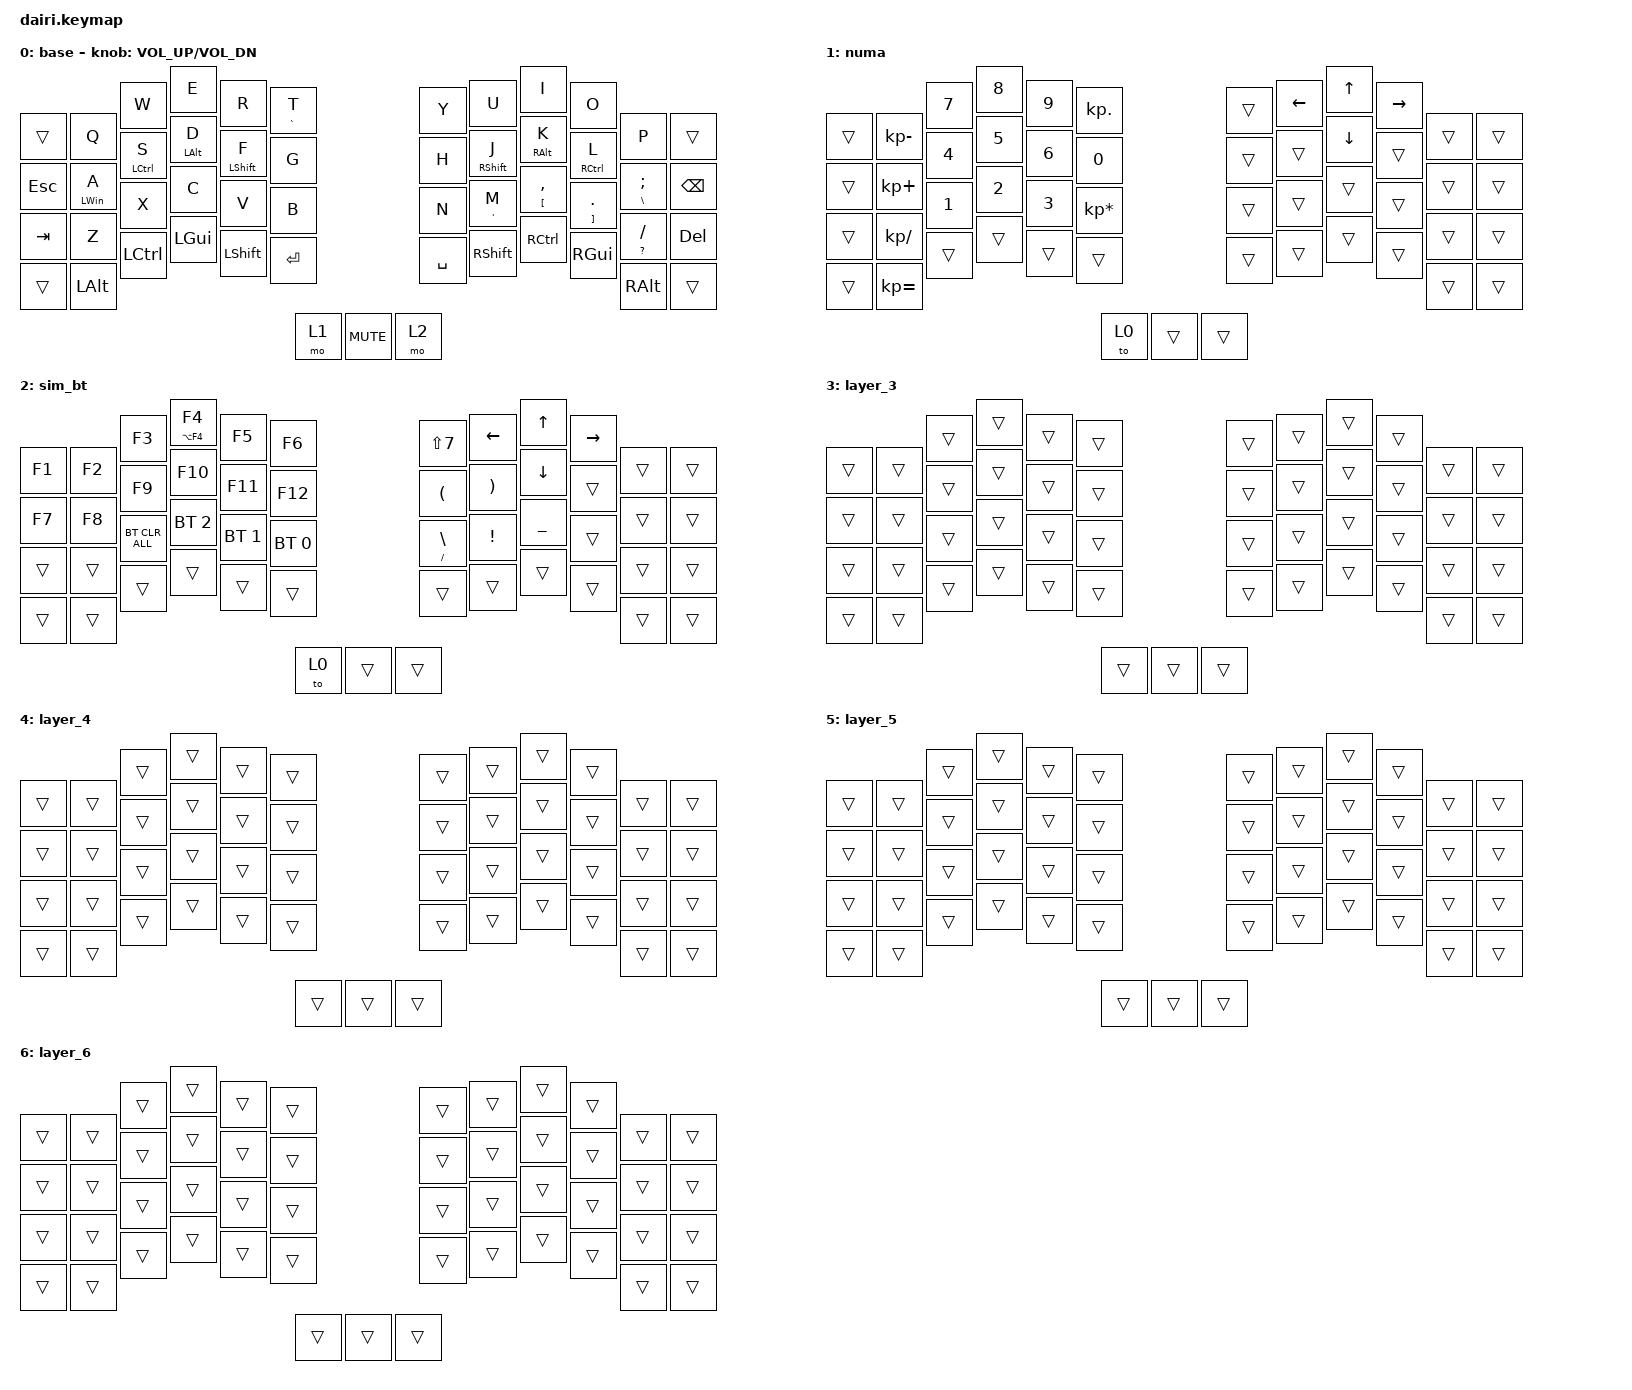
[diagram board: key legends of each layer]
#include <behaviors.dtsi>
#include <dt-bindings/zmk/bt.h>
#include <dt-bindings/zmk/keys.h>

#define DEFAULT 0
#define NUMPAD 1
#define BLT 2

&mt { tapping-term-ms = <250>; };

/ {
    combos {
        compatible = "zmk,combos";

        copy {
            timeout-ms = <45>;
            require-prior-idle-ms = <130>;
            slow-release;
            layers = <1 2>;
            bindings = <&kp LC(C)>;
            key-positions = <27 38>;
        };

        cut {
            timeout-ms = <45>;
            require-prior-idle-ms = <130>;
            slow-release;
            layers = <1 2>;
            bindings = <&kp LC(X)>;
            key-positions = <26 38>;
        };

        paste {
            timeout-ms = <45>;
            require-prior-idle-ms = <130>;
            slow-release;
            layers = <1 2>;
            bindings = <&kp LC(V)>;
            key-positions = <28 38>;
        };

        backspace {
            timeout-ms = <60>;
            require-prior-idle-ms = <180>;
            layers = <1 2>;
            bindings = <&kp BACKSPACE>;
            key-positions = <4 3>;
        };

        print {
            timeout-ms = <50>;
            require-prior-idle-ms = <160>;
            layers = <0 1 2>;
            bindings = <&kp LC(P)>;
            key-positions = <1 2>;
        };

        insert {
            timeout-ms = <50>;
            require-prior-idle-ms = <160>;
            layers = <0 1 2>;
            bindings = <&kp INSERT>;
            key-positions = <1 3>;
        };

        qstn {
            bindings = <&kp LS(N7)>;
            key-positions = <6 7>;
        };

        rght_skbk {
            bindings = <&kp RIGHT_PARENTHESIS>;
            key-positions = <4 3>;
            layers = <0>;
        };

        lft_skbk {
            bindings = <&kp LEFT_PARENTHESIS>;
            key-positions = <2 3>;
            layers = <0>;
        };

        calculator {
            bindings = <&kp C_AL_CALCULATOR>;
            key-positions = <5 41>;
            layers = <0 1>;
        };

        caps {
            bindings = <&kp CAPS>;
            key-positions = <37 40>;
            layers = <0 1>;
        };

        to_numa {
            bindings = <&to 1>;
            key-positions = <0 36>;
        };

        to_simb {
            bindings = <&to 2>;
            key-positions = <48 50>;
        };

        space {
            bindings = <&kp SPACE>;
            key-positions = <16 15>;
            layers = <1>;
        };
    };

    behaviors {
        hrm: hrm {
            compatible = "zmk,behavior-hold-tap";
            label = "HRM";
            #binding-cells = <2>;
            tapping-term-ms = <200>;
            quick-tap-ms = <175>;
            flavor = "balanced";
            require-prior-idle-ms = <150>;
            hold-trigger-on-release;
            bindings = <&kp>, <&kp>;
        };

        modtap: modtap {
            compatible = "zmk,behavior-hold-tap";
            label = "MODTAP";
            #binding-cells = <2>;
            tapping-term-ms = <250>;
            bindings = <&mo>, <&kp>;
        };
    };

    keymap {
        compatible = "zmk,keymap";

        base_layer {
            bindings = <
&trans      &kp Q            &kp W         &kp E            &kp R              &hrm GRAVE T    &kp Y      &kp U               &kp I                    &kp O                      &kp P                &trans
&kp ESCAPE  &hrm LEFT_WIN A  &hrm LCTRL S  &hrm LEFT_ALT D  &hrm LEFT_SHIFT F  &kp G           &kp H      &hrm RIGHT_SHIFT J  &hrm RIGHT_ALT K         &hrm RCTRL L               &hrm BACKSLASH SEMI  &kp BACKSPACE
&kp TAB     &kp Z            &kp X         &kp C            &kp V              &kp B           &kp N      &hrm SQT M          &hrm LEFT_BRACKET COMMA  &hrm RIGHT_BRACKET PERIOD  &hrm QUESTION SLASH  &kp DEL
&trans      &kp LEFT_ALT     &kp LCTRL                      &kp LEFT_GUI       &kp LEFT_SHIFT  &kp ENTER  &kp SPACE           &kp RIGHT_SHIFT          &kp RCTRL                  &kp RIGHT_GUI        &kp RIGHT_ALT  &trans
&mo 1       &kp C_MUTE       &mo 2
            >;

            sensor-bindings = <&inc_dec_kp C_VOL_UP C_VOL_DN>;
            label = "base";
        };

        numa {
            bindings = <
&trans  &kp KP_SUBTRACT  &kp N7  &kp N8  &kp NUMBER_9  &kp KP_DOT       &trans  &kp LEFT_ARROW  &kp UP_ARROW    &kp RIGHT_ARROW  &trans  &trans
&trans  &kp KP_PLUS      &kp N4  &kp N5  &kp N6        &kp NUMBER_0     &trans  &trans          &kp DOWN_ARROW  &trans           &trans  &trans
&trans  &kp KP_DIVIDE    &kp N1  &kp N2  &kp N3        &kp KP_MULTIPLY  &trans  &trans          &trans          &trans           &trans  &trans
&trans  &kp KP_EQUAL     &trans          &trans        &trans           &trans  &trans          &trans          &trans           &trans  &trans  &trans
&to 0   &trans           &trans
            >;

            label = "numa";
        };

        simbols {
            bindings = <
&kp F1  &kp F2  &kp F3          &mt LA(F4) F4  &kp F5        &kp F6        &kp LS(N7)            &kp LEFT_ARROW         &kp UP_ARROW    &kp RIGHT  &trans  &trans
&kp F7  &kp F8  &kp F9          &kp F10        &kp F11       &kp F12       &kp LEFT_PARENTHESIS  &kp RIGHT_PARENTHESIS  &kp DOWN_ARROW  &trans     &trans  &trans
&trans  &trans  &bt BT_CLR_ALL  &bt BT_SEL 2   &bt BT_SEL 1  &bt BT_SEL 0  &mt SLASH BACKSLASH   &kp EXCLAMATION        &kp UNDER       &trans     &trans  &trans
&trans  &trans  &trans                         &trans        &trans        &trans                &trans                 &trans          &trans     &trans  &trans  &trans
&to 0   &trans  &trans
            >;

            label = "sim_bt";
        };

        layer_3 {
            bindings = <
&trans  &trans  &trans  &trans  &trans  &trans  &trans  &trans  &trans  &trans  &trans  &trans
&trans  &trans  &trans  &trans  &trans  &trans  &trans  &trans  &trans  &trans  &trans  &trans
&trans  &trans  &trans  &trans  &trans  &trans  &trans  &trans  &trans  &trans  &trans  &trans
&trans  &trans  &trans          &trans  &trans  &trans  &trans  &trans  &trans  &trans  &trans  &trans
&trans  &trans  &trans
            >;
        };

        layer_4 {
            bindings = <
&trans  &trans  &trans  &trans  &trans  &trans  &trans  &trans  &trans  &trans  &trans  &trans
&trans  &trans  &trans  &trans  &trans  &trans  &trans  &trans  &trans  &trans  &trans  &trans
&trans  &trans  &trans  &trans  &trans  &trans  &trans  &trans  &trans  &trans  &trans  &trans
&trans  &trans  &trans          &trans  &trans  &trans  &trans  &trans  &trans  &trans  &trans  &trans
&trans  &trans  &trans
            >;
        };

        layer_5 {
            bindings = <
&trans  &trans  &trans  &trans  &trans  &trans  &trans  &trans  &trans  &trans  &trans  &trans
&trans  &trans  &trans  &trans  &trans  &trans  &trans  &trans  &trans  &trans  &trans  &trans
&trans  &trans  &trans  &trans  &trans  &trans  &trans  &trans  &trans  &trans  &trans  &trans
&trans  &trans  &trans          &trans  &trans  &trans  &trans  &trans  &trans  &trans  &trans  &trans
&trans  &trans  &trans
            >;
        };

        layer_6 {
            bindings = <
&trans  &trans  &trans  &trans  &trans  &trans  &trans  &trans  &trans  &trans  &trans  &trans
&trans  &trans  &trans  &trans  &trans  &trans  &trans  &trans  &trans  &trans  &trans  &trans
&trans  &trans  &trans  &trans  &trans  &trans  &trans  &trans  &trans  &trans  &trans  &trans
&trans  &trans  &trans          &trans  &trans  &trans  &trans  &trans  &trans  &trans  &trans  &trans
&trans  &trans  &trans
            >;
        };
    };
};
